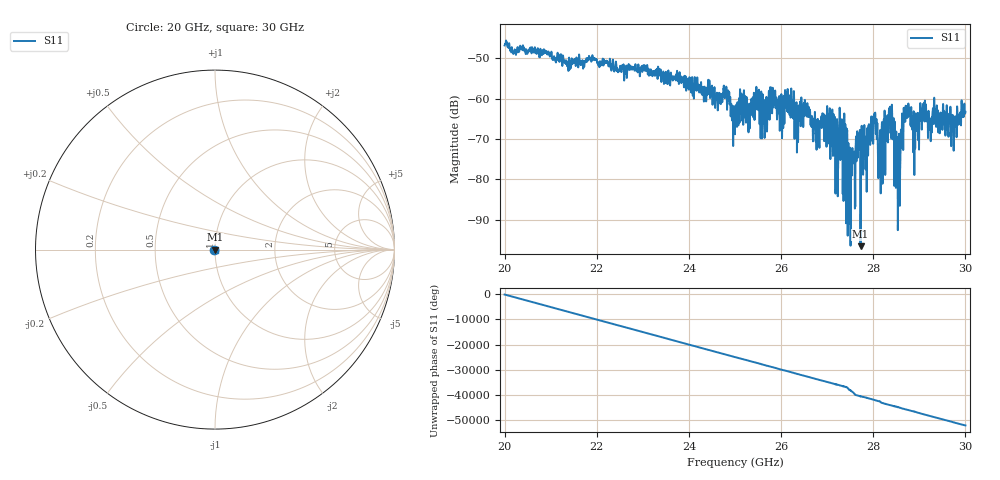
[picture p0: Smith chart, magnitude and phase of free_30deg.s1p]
#  HZ  S  RI  R  50.00
! Rohde & Schwarz ZVA40 4Ports - Version 3.90 - 1145.1110k42 SN: 100403
! Date: 2023-09-30 07:09:55
! Measurement: S12
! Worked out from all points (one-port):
!   5001 points, 20 GHz to 30 GHz, reference 50 ohm
!   lowest |S11| = -96.6 dB at 27.72 GHz (marker M1), VSWR 1.00, Z = 50 + j0.000639 ohm
!   |S11| at or under -10 dB: start of sweep to end of sweep
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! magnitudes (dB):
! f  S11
! 20 GHz  -46.8
! 21.25 GHz  -51.6
! 22.5 GHz  -52.8
! 23.75 GHz  -54.9
! 24.77 GHz  -59.7
! 25 GHz  -66.7
! 25.48 GHz  -61.2
! 25.63 GHz  -60.9
! 25.81 GHz  -63.7
! 26.25 GHz  -60.5
! 26.79 GHz  -65.0
! 27.12 GHz  -72.9
! 27.2 GHz  -71.0
! 27.3 GHz  -73.5
! 27.5 GHz  -73.7
! 27.72 GHz  -96.6
! 27.84 GHz  -69.4
! 28 GHz  -70.3
! 28.15 GHz  -70.0
! 28.38 GHz  -67.4
! 28.54 GHz  -81.8
! 28.75 GHz  -63.9
! 28.9 GHz  -65.6
! 29.11 GHz  -65.6
! 29.22 GHz  -65.5
! 29.34 GHz  -63.6
! 29.74 GHz  -64.9
! 30 GHz  -63.3
